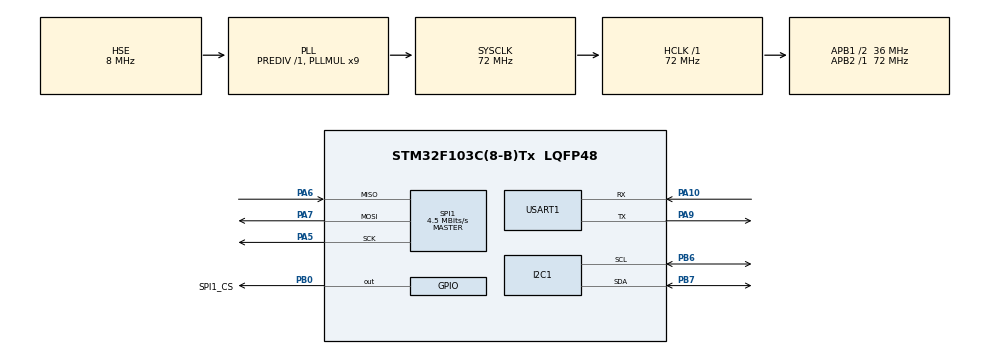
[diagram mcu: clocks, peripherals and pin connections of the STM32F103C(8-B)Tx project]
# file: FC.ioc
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I2C1.DutyCycle=I2C_DUTYCYCLE_16_9
I2C1.I2C_Mode=I2C_Fast
Mcu.Family=STM32F1
Mcu.Name=STM32F103C(8-B)Tx
Mcu.Package=LQFP48
NVIC.PriorityGroup=NVIC_PRIORITYGROUP_4
PA10.Mode=Asynchronous
PA10.Signal=USART1_RX
PA13.Mode=Serial_Wire
PA13.Signal=SYS_JTMS-SWDIO
PA14.Mode=Serial_Wire
PA14.Signal=SYS_JTCK-SWCLK
PA5.Mode=Full_Duplex_Master
PA5.Signal=SPI1_SCK
PA6.Mode=Full_Duplex_Master
PA6.Signal=SPI1_MISO
PA7.Mode=Full_Duplex_Master
PA7.Signal=SPI1_MOSI
PA9.Mode=Asynchronous
PA9.Signal=USART1_TX
PB0.GPIO_Label=SPI1_CS
PB0.GPIO_Speed=GPIO_SPEED_FREQ_HIGH
PB0.Signal=GPIO_Output
PB6.Mode=I2C
PB6.Signal=I2C1_SCL
PB7.Mode=I2C
PB7.Signal=I2C1_SDA
PD0-OSC_IN.Mode=HSE-External-Oscillator
PD0-OSC_IN.Signal=RCC_OSC_IN
PD1-OSC_OUT.Mode=HSE-External-Oscillator
PD1-OSC_OUT.Signal=RCC_OSC_OUT
ProjectManager.HeapSize=0x200
ProjectManager.StackSize=0x400
ProjectManager.TargetToolchain=STM32CubeIDE
RCC.AHBFreq_Value=72000000
RCC.APB1CLKDivider=RCC_HCLK_DIV2
RCC.APB1Freq_Value=36000000
RCC.APB1TimFreq_Value=72000000
RCC.APB2Freq_Value=72000000
RCC.APB2TimFreq_Value=72000000
RCC.HCLKFreq_Value=72000000
RCC.PLLMUL=RCC_PLL_MUL9
RCC.PLLSourceVirtual=RCC_PLLSOURCE_HSE
RCC.SYSCLKFreq_VALUE=72000000
RCC.SYSCLKSource=RCC_SYSCLKSOURCE_PLLCLK
RCC.USBFreq_Value=72000000
SPI1.BaudRatePrescaler=SPI_BAUDRATEPRESCALER_16
SPI1.CalculateBaudRate=4.5 MBits/s
SPI1.Direction=SPI_DIRECTION_2LINES
SPI1.Mode=SPI_MODE_MASTER
SPI1.VirtualType=VM_MASTER
USART1.VirtualMode=VM_ASYNC
board=custom

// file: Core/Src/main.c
/* USER CODE BEGIN Header */
/**
 ******************************************************************************
 * @file           : main.c
 * @brief          : Main program body
 ******************************************************************************
 * @attention
 *
 * Copyright (c) 2024 STMicroelectronics.
 * All rights reserved.
 *
 * This software is licensed under terms that can be found in the LICENSE file
 * in the root directory of this software component.
 * If no LICENSE file comes with this software, it is provided AS-IS.
 *
 ******************************************************************************
 */
/* USER CODE END Header */
#include "main.h"

/* USER CODE BEGIN Includes */
#include "stdio.h"
#include "string.h"
#include "system_angle.h"
/* USER CODE END Includes */

I2C_HandleTypeDef hi2c1;

SPI_HandleTypeDef hspi1;

UART_HandleTypeDef huart1;

void SystemClock_Config(void);
static void MX_GPIO_Init(void);
static void MX_I2C1_Init(void);
static void MX_USART1_UART_Init(void);
static void MX_SPI1_Init(void);

/* USER CODE BEGIN 0 */
#ifdef __GNUC__
#define PUTCHAR_PROTOTYPE int __io_putchar(int c)
#else
#define PUTCHAR_PROTOTYPE int fputc(int ch, FILE *f)
#endif

PUTCHAR_PROTOTYPE
{
  HAL_UART_Transmit(&huart1, (uint8_t *) &c, 1, HAL_MAX_DELAY);
  return c;
}

uint8_t status = 0;
char data[50];

static float angle_X = 0;
static float angle_Y = 0;
static float angle_Z = 0;

/* USER CODE END 0 */

int main(void)
{

  /* MCU Configuration--------------------------------------------------------*/

  /* Reset of all peripherals, Initializes the Flash interface and the Systick. */
  HAL_Init();

  /* Configure the system clock */
  SystemClock_Config();

  /* Initialize all configured peripherals */
  MX_GPIO_Init();
  MX_I2C1_Init();
  MX_USART1_UART_Init();
  MX_SPI1_Init();
  /* USER CODE BEGIN 2 */
  if (system_angle_init() == SYSTEM_ANGLE_ERROR)
    printf("System angle init error\r\n");
  else
    printf("System angle init ok\r\n");
  /* USER CODE END 2 */

  /* Infinite loop */
  while (1)
  {

    /* USER CODE BEGIN 3 */
    if (system_angle_get_value(&angle_X, &angle_Y, &angle_Z, 0) == SYSTEM_ANGLE_ERROR)
    {}
    else
    {
        sprintf(data, "%.2f\t%.2f\t%.2f\n", angle_X, angle_Y, angle_Z);
        HAL_UART_Transmit(&huart1, (uint8_t*) data, strlen(data), HAL_MAX_DELAY);
    }
    HAL_Delay(50);
  }
  /* USER CODE END 3 */
}

void SystemClock_Config(void)
{
  RCC_OscInitTypeDef RCC_OscInitStruct = {0};
  RCC_ClkInitTypeDef RCC_ClkInitStruct = {0};

  /** Initializes the RCC Oscillators according to the specified parameters
  * in the RCC_OscInitTypeDef structure.
  */
  RCC_OscInitStruct.OscillatorType = RCC_OSCILLATORTYPE_HSE;
  RCC_OscInitStruct.HSEState = RCC_HSE_ON;
  RCC_OscInitStruct.HSEPredivValue = RCC_HSE_PREDIV_DIV1;
  RCC_OscInitStruct.HSIState = RCC_HSI_ON;
  RCC_OscInitStruct.PLL.PLLState = RCC_PLL_ON;
  RCC_OscInitStruct.PLL.PLLSource = RCC_PLLSOURCE_HSE;
  RCC_OscInitStruct.PLL.PLLMUL = RCC_PLL_MUL9;
  if (HAL_RCC_OscConfig(&RCC_OscInitStruct) != HAL_OK)
  {
    Error_Handler();
  }

  /** Initializes the CPU, AHB and APB buses clocks
  */
  RCC_ClkInitStruct.ClockType = RCC_CLOCKTYPE_HCLK|RCC_CLOCKTYPE_SYSCLK
                              |RCC_CLOCKTYPE_PCLK1|RCC_CLOCKTYPE_PCLK2;
  RCC_ClkInitStruct.SYSCLKSource = RCC_SYSCLKSOURCE_PLLCLK;
  RCC_ClkInitStruct.AHBCLKDivider = RCC_SYSCLK_DIV1;
  RCC_ClkInitStruct.APB1CLKDivider = RCC_HCLK_DIV2;
  RCC_ClkInitStruct.APB2CLKDivider = RCC_HCLK_DIV1;

  if (HAL_RCC_ClockConfig(&RCC_ClkInitStruct, FLASH_LATENCY_2) != HAL_OK)
  {
    Error_Handler();
  }
}

static void MX_I2C1_Init(void)
{

  hi2c1.Instance = I2C1;
  hi2c1.Init.ClockSpeed = 400000;
  hi2c1.Init.DutyCycle = I2C_DUTYCYCLE_16_9;
  hi2c1.Init.OwnAddress1 = 0;
  hi2c1.Init.AddressingMode = I2C_ADDRESSINGMODE_7BIT;
  hi2c1.Init.DualAddressMode = I2C_DUALADDRESS_DISABLE;
  hi2c1.Init.OwnAddress2 = 0;
  hi2c1.Init.GeneralCallMode = I2C_GENERALCALL_DISABLE;
  hi2c1.Init.NoStretchMode = I2C_NOSTRETCH_DISABLE;
  if (HAL_I2C_Init(&hi2c1) != HAL_OK)
  {
    Error_Handler();
  }

}

static void MX_SPI1_Init(void)
{

  /* SPI1 parameter configuration*/
  hspi1.Instance = SPI1;
  hspi1.Init.Mode = SPI_MODE_MASTER;
  hspi1.Init.Direction = SPI_DIRECTION_2LINES;
  hspi1.Init.DataSize = SPI_DATASIZE_8BIT;
  hspi1.Init.CLKPolarity = SPI_POLARITY_LOW;
  hspi1.Init.CLKPhase = SPI_PHASE_1EDGE;
  hspi1.Init.NSS = SPI_NSS_SOFT;
  hspi1.Init.BaudRatePrescaler = SPI_BAUDRATEPRESCALER_16;
  hspi1.Init.FirstBit = SPI_FIRSTBIT_MSB;
  hspi1.Init.TIMode = SPI_TIMODE_DISABLE;
  hspi1.Init.CRCCalculation = SPI_CRCCALCULATION_DISABLE;
  hspi1.Init.CRCPolynomial = 10;
  if (HAL_SPI_Init(&hspi1) != HAL_OK)
  {
    Error_Handler();
  }

}

static void MX_USART1_UART_Init(void)
{

  huart1.Instance = USART1;
  huart1.Init.BaudRate = 115200;
  huart1.Init.WordLength = UART_WORDLENGTH_8B;
  huart1.Init.StopBits = UART_STOPBITS_1;
  huart1.Init.Parity = UART_PARITY_NONE;
  huart1.Init.Mode = UART_MODE_TX_RX;
  huart1.Init.HwFlowCtl = UART_HWCONTROL_NONE;
  huart1.Init.OverSampling = UART_OVERSAMPLING_16;
  if (HAL_UART_Init(&huart1) != HAL_OK)
  {
    Error_Handler();
  }

}

static void MX_GPIO_Init(void)
{
  GPIO_InitTypeDef GPIO_InitStruct = {0};

  /* GPIO Ports Clock Enable */
  __HAL_RCC_GPIOD_CLK_ENABLE();
  __HAL_RCC_GPIOA_CLK_ENABLE();
  __HAL_RCC_GPIOB_CLK_ENABLE();

  /*Configure GPIO pin Output Level */
  HAL_GPIO_WritePin(SPI1_CS_GPIO_Port, SPI1_CS_Pin, GPIO_PIN_RESET);

  /*Configure GPIO pin : SPI1_CS_Pin */
  GPIO_InitStruct.Pin = SPI1_CS_Pin;
  GPIO_InitStruct.Mode = GPIO_MODE_OUTPUT_PP;
  GPIO_InitStruct.Pull = GPIO_NOPULL;
  GPIO_InitStruct.Speed = GPIO_SPEED_FREQ_HIGH;
  HAL_GPIO_Init(SPI1_CS_GPIO_Port, &GPIO_InitStruct);

}

void Error_Handler(void)
{
  __disable_irq();
  while (1)
  {
  }
}
